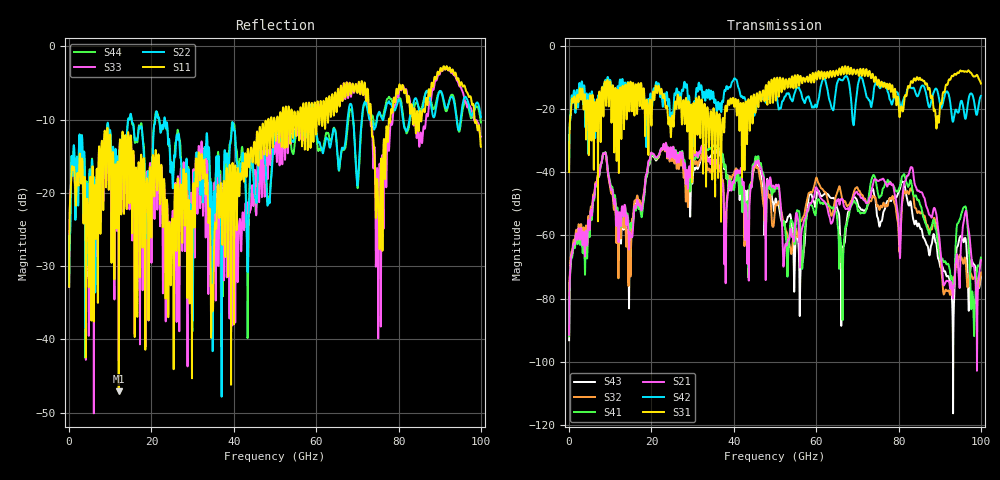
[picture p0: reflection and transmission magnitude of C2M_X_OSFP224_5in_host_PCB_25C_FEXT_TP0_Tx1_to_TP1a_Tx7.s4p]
# GHz S RI R 45
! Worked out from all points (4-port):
!   4000 points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, 25 MHz to 100 GHz, reference 45 ohm
!   strongest paths, dB at 25 MHz, 25.02 GHz, 50.02 GHz, 75.03 GHz, 100 GHz:
!     S31: -40.0, -22.4, -11.9, -11.5, -12.0
!     S42: -39.3, -21.2, -13.8, -12.5, -15.9
!     S21: -91.4, -35.3, -45.1, -42.8, -67.8
!     S41: -92.0, -33.9, -45.4, -46.8, -67.1
!     S32: -89.8, -36.5, -51.6, -50.5, -71.8
!     S43: -93.2, -34.9, -49.7, -54.6, -73.1
!   lowest |S11| = -47.1 dB at 12.07 GHz (marker M1), VSWR 1.01, Z = 45.3 + j0.221 ohm
!   |S11| at or under -10 dB: start of sweep to 48.37 GHz; 73.41 GHz to 77.66 GHz (4.256 GHz wide, 5.63 % of centre); 98.49 GHz to end of sweep (the widest 3 of 29)
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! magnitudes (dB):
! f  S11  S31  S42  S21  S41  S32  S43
! 25 MHz  -32.8  -40.0  -39.3  -91.4  -92.0  -89.8  -93.2
! 8.5 GHz  -13.5  -14.1  -12.6  -34.2  -34.0  -34.2  -34.2
! 12.07 GHz  -47.1  -27.8  -16.1  -60.1  -60.1  -62.6  -67.8
! 35.75 GHz  -24.9  -21.7  -19.7  -36.3  -31.8  -37.5  -33.3
! 56.35 GHz  -9.0  -10.3  -14.9  -59.9  -65.1  -55.6  -69.6
! 81.03 GHz  -5.3  -20.8  -17.7  -46.9  -41.2  -48.7  -43.2
! 100 GHz  -13.7  -12.0  -15.9  -67.8  -67.1  -71.8  -73.1
